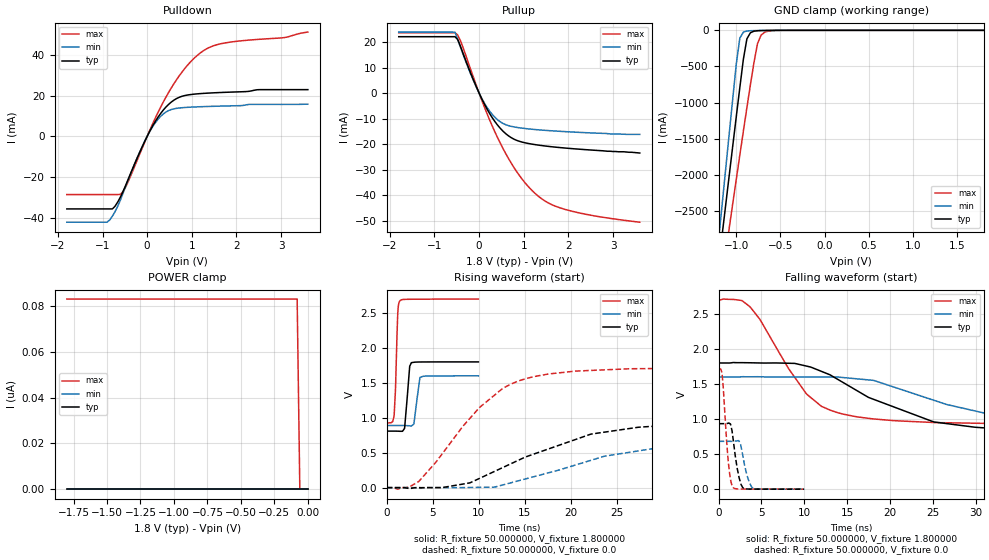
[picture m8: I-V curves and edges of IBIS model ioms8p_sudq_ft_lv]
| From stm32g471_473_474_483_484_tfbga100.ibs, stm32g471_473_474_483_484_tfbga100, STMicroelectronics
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|   Model ioms8p_sudq_ft_lv
[Model]  ioms8p_sudq_ft_lv
Model_type I/O
Polarity   Non-Inverting
Enable   Active-Low
Vinl =   0.540000V
Vinh =   1.260000V
Vmeas =  0.900000V
Cref =   50.000000pF
Rref =   100.000000M
Vref =   0.0V
C_comp   1.984800pF   1.899400pF   2.077500pF
[Temperature Range]   25.000000   -40.000000   0.125000k
[Pullup Reference]   1.800000V   1.600000V   2.700000V
[Pulldown Reference]   0.0V   0.0V   0.0V
[POWER Clamp Reference]   1.800000V   1.600000V   2.700000V
[GND Clamp Reference]   0.0V   0.0V   0.0V
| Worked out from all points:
|   slope of the pulldown table from 0 to 0.27 V, typ, clamps not added: 26.4 ohm
|   slope of the pullup table from 0 to 0.27 V, typ, clamps not added: 30.1 ohm
|   GND clamp passes 1 mA (typ) near -0.61 V on its own axis
|   rising waveform, R_fixture 50.000000, V_fixture 1.800000: 20-80 % time 371ps typ, 419ps min, 254ps max; typ from 0.809 V to 1.8 V
|   rising waveform, R_fixture 50.000000, V_fixture 0.0: 20-80 % time 10.8ns typ, 12.9ns min, 6.95ns max; typ from 0 V to 0.934 V
|   falling waveform, R_fixture 50.000000, V_fixture 1.800000: 20-80 % time 10.6ns typ, 12.5ns min, 5.82ns max; typ from 1.8 V to 0.809 V
|   falling waveform, R_fixture 50.000000, V_fixture 0.0: 20-80 % time 693ps typ, 758ps min, 589ps max; typ from 0.934 V to 0 V
[Pulldown]
|Voltage   I(typ)   I(min)   I(max)
-1.8V     -35.64mA   -42.15mA   -28.59mA
-900mV    -35.64mA   -42.15mA   -28.59mA
-780mV    -35.64mA   -39.2mA    -28.59mA
-600mV    -29.83mA   -31.3mA    -28.52mA
-420mV    -20.8mA    -21.07mA   -21.98mA
60mV      2.604mA    2.459mA    3.062mA
240mV     9.303mA    8.31mA     11.61mA
480mV     15.67mA    12.64mA    21.52mA
720mV     19.18mA    13.9mA     29.74mA
960mV     20.46mA    14.3mA     36.27mA
1.44V     21.29mA    14.7mA     44.06mA
3.6V      22.91mA    15.79mA    51.15mA
[Pullup]
|Voltage   I(typ)   I(min)   I(max)
-1.8V     22.09mA    23.9mA     23.64mA
-540mV    22.09mA    23.85mA    23.64mA
-480mV    21.02mA    21.11mA    22.75mA
-60mV     2.392mA    2.26mA     2.893mA
300mV     -9.801mA   -8.48mA    -13.12mA
480mV     -13.91mA   -11.33mA   -19.82mA
720mV     -17.48mA   -13.04mA   -27.46mA
1.02V     -19.45mA   -13.87mA   -34.97mA
1.32V     -20.37mA   -14.39mA   -40.32mA
1.62V     -21.02mA   -14.78mA   -43.66mA
2.04V     -21.71mA   -15.22mA   -46.12mA
3.6V      -23.5mA    -16.2mA    -50.6mA
[GND_clamp]
|Voltage   I(typ)   I(min)   I(max)
-1.8V     -9.477A    -9.805A    -9.016A
-1.2V     -3.243A    -2.9A      -3.759A
-1.16V    -2.83A     -2.409A    -3.417A
-1.12V    -2.418A    -1.919A    -3.076A
-1.08V    -2.008A    -1.431A    -2.736A
-1V       -1.194A    -466mA     -2.061A
-960mV    -792.8mA   -108.7mA   -1.727A
-920mV    -402mA     -24.35mA   -1.396A
-880mV    -117.8mA   -9.188mA   -1.071A
-760mV    -5.896mA   -2.88mA    -183.8mA
-680mV    -2.395mA   -1.099mA   -26.61mA
1.8V      0A         0A         0A
[POWER_clamp]
|Voltage   I(typ)   I(min)   I(max)
-1.8V     0A         0A         83.17nA
-80mV     0A         0A         83.17nA
-60mV     0A         0A         0A
0V        0A         0A         0A
[Ramp]
| variable   typ   min   max
dV/dt_r  0.55936/10.78723n   0.40741/12.82335n   1.02762/6.94428n
dV/dt_f  0.58910/10.62194n   0.41216/12.43692n   1.06389/5.81725n
R_load = 50.000000
[Rising Waveform]
R_fixture= 50.000000
V_fixture= 1.800000
V_fixture_min= 1.600000
V_fixture_max= 2.700000
|time   V(typ)   V(min)   V(max)
0s        808.7mV    889.5mV    926.7mV
800.8ps   808.8mV    889.6mV    1.022V
961ps     808.7mV    889.6mV    1.423V
1.201ns   808.4mV    889.6mV    2.49V
1.461ns   806.3mV    889.6mV    2.679V
1.942ns   847.7mV    889mV      2.695V
2.503ns   1.738V     884.3mV    2.697V
2.683ns   1.788V     882mV      2.697V
3.624ns   1.799V     1.578V     2.698V
9.97ns    1.8V       1.6V       2.7V
[Rising Waveform]
R_fixture= 50.000000
V_fixture= 0.0
V_fixture_min= 0.0
V_fixture_max= 0.0
|time   V(typ)   V(min)   V(max)
0s        370nV      499.7nV    14.93uV
1.201ns   21.28uV    -847.3nV   -22.39mV
3.504ns   -45.64uV   -8.626mV   89.62mV
10.11ns   133.1mV    3.87mV     1.149V
12.71ns   292.9mV    41.21mV    1.427V
15.32ns   448.8mV    132.2mV    1.567V
22.22ns   766.3mV    391.5mV    1.678V
27.33ns   863.7mV    524.8mV    1.703V
31.63ns   900.3mV    612.9mV    1.707V
49.85ns   934.4mV    682.2mV    1.714V
[Falling Waveform]
R_fixture= 50.000000
V_fixture= 1.800000
V_fixture_min= 1.600000
V_fixture_max= 2.700000
|time   V(typ)   V(min)   V(max)
0s        1.8V       1.6V       2.7V
2.703ns   1.805V     1.604V     2.691V
3.604ns   1.803V     1.603V     2.607V
10.21ns   1.757V     1.6V       1.364V
12.01ns   1.679V     1.6V       1.18V
13.91ns   1.565V     1.599V     1.089V
18.12ns   1.279V     1.55V      1.001V
25.13ns   958.1mV    1.267V     950.5mV
34.23ns   848.9mV    996.2mV    932mV
49.85ns   808.7mV    889.5mV    926.7mV
[Falling Waveform]
R_fixture= 50.000000
V_fixture= 0.0
V_fixture_min= 0.0
V_fixture_max= 0.0
|time   V(typ)   V(min)   V(max)
0s        934.4mV    682.2mV    1.714V
440.4ps   934.4mV    682.2mV    1.598V
1.121ns   941.4mV    682.1mV    402.2mV
1.381ns   930.7mV    682mV      145.6mV
1.662ns   743.1mV    681.5mV    28.95mV
2.362ns   179.6mV    691.6mV    3.175mV
2.823ns   20.43mV    478mV      2.219mV
3.584ns   1.674mV    95.95mV    1.739mV
4.164ns   722.4uV    4.131mV    1.434mV
9.97ns    370nV      499.7nV    14.93uV
